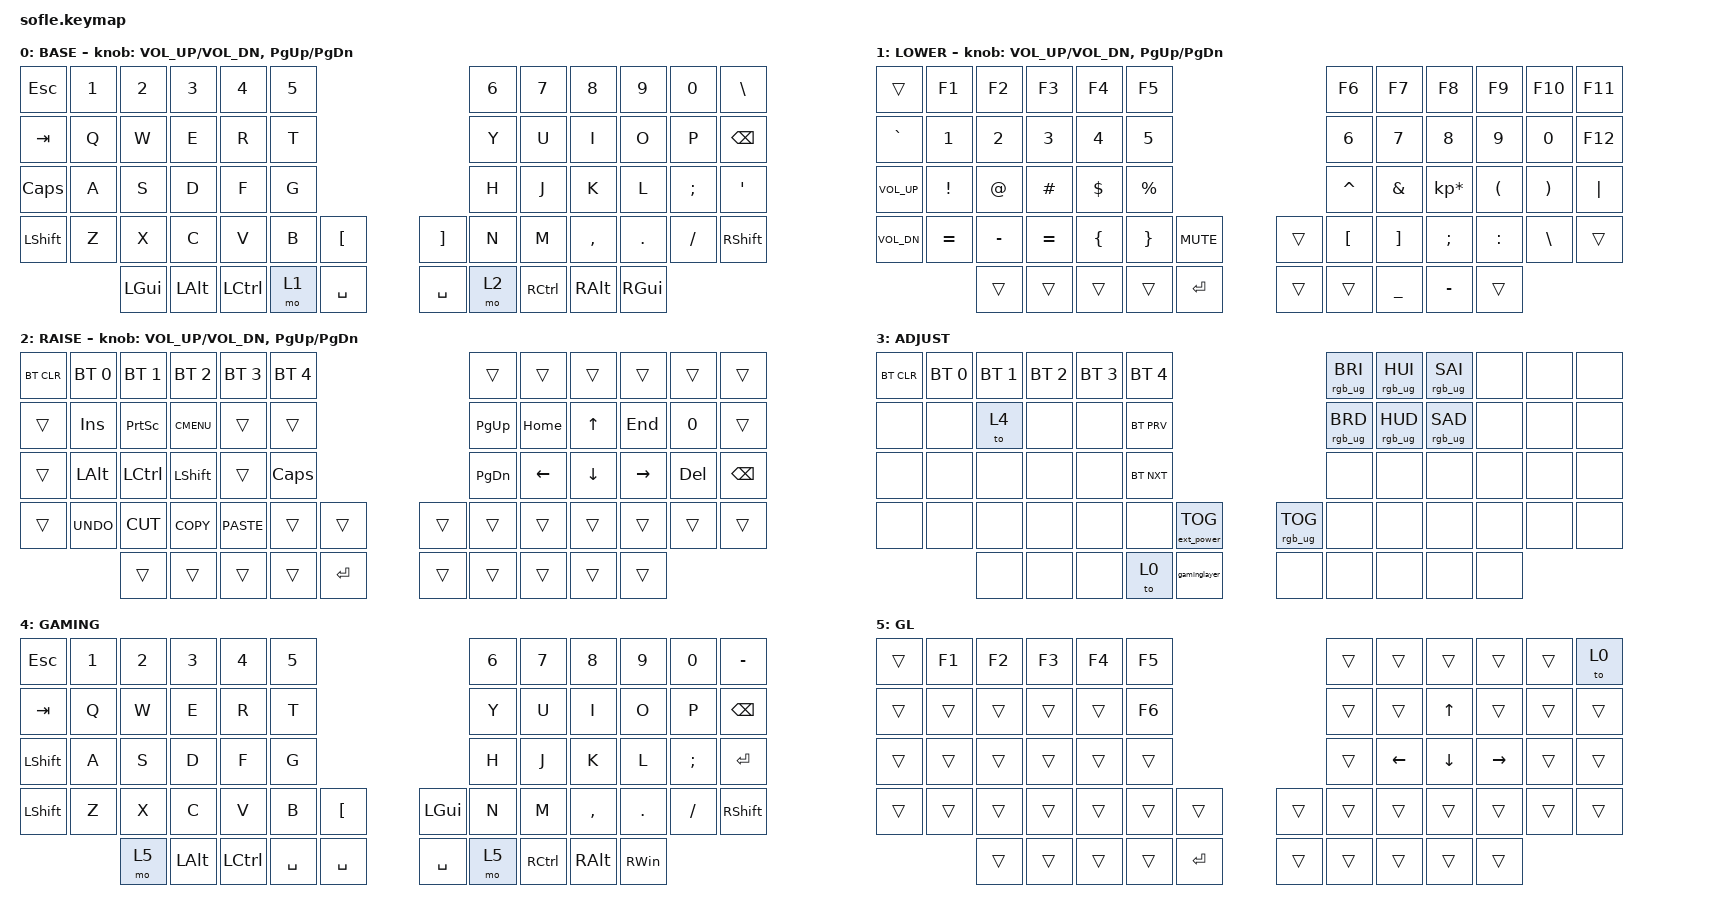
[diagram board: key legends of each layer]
/*
 * Copyright (c) 2020 The ZMK Contributors
 *
 * SPDX-License-Identifier: MIT
 */
/*
 * Temporarily here because nice nano v2 spi is not defined on ZMK Yet
 * Source: https://github.com/zmkfirmware/zmk/blob/main/app/boards/shields/reviung41/boards/nice_nano.overlay
 * GitHub Issue: https://github.com/zmkfirmware/zmk/issues/885
 */

#include <dt-bindings/led/led.h>
#include <behaviors.dtsi>
#include <dt-bindings/zmk/bt.h>
#include <dt-bindings/zmk/ext_power.h>
#include <dt-bindings/zmk/keys.h>
#include <dt-bindings/zmk/rgb.h>

&pinctrl {
    spi3_default: spi3_default {
        group1 { psels = <NRF_PSEL(SPIM_MOSI, 0, 8)>; };
    };

    spi3_sleep: spi3_sleep {
        group1 {
            psels = <NRF_PSEL(SPIM_MOSI, 0, 8)>;
            low-power-enable;
        };
    };
};

&spi3 {
    compatible = "nordic,nrf-spim";
    status = "okay";
    pinctrl-0 = <&spi3_default>;
    pinctrl-1 = <&spi3_sleep>;
    pinctrl-names = "default", "sleep";

    led_strip: ws2812@0 {
        compatible = "worldsemi,ws2812-spi";
        label = "WS2812";

        /* SPI */

        reg = <0>; /* ignored, but necessary for SPI bindings */
        spi-max-frequency = <4000000>;

        /* WS2812 */

        chain-length = <30>;
        spi-one-frame = <0x70>;
        spi-zero-frame = <0x40>;
        color-mapping = <LED_COLOR_ID_GREEN LED_COLOR_ID_RED LED_COLOR_ID_BLUE>;
    };
};

/ {
    chosen { zmk,underglow = &led_strip; };
};

/* END temporary RGB support section */

/ {
    behaviors {
        gaminglayer: gaminglayer {
            compatible = "zmk,behavior-tap-dance";
            label = "GAMINGLAYER";
            #binding-cells = <0>;
            bindings = <&none>, <&none>, <&to 4>;
        };
    };

    keymap {
        compatible = "zmk,keymap";

        default_layer {
            // ------------------------------------------------------------------------------------------------------------------
            // |  `    |  1  |  2  |  3   |  4   |  5   |                         |  6   |  7    |  8    |  9   |   0   |       |
            // |  ESC  |  Q  |  W  |  E   |  R   |  T   |                         |  Y   |  U    |  I    |  O   |   P   | BKSPC |
            // |  TAB  |  A  |  S  |  D   |  F   |  G   |                         |  H   |  J    |  K    |  L   |   ;   |   '   |
            // | SHIFT |  Z  |  X  |  C   |  V   |  B   |  MUTE  |        | ExtPw |  N   |  M    |  ,    |  .   |   /   | SHIFT |
            //               | GUI | ALT  | CTRL | LOWER|  ENTER |        | SPACE | RAISE| CTRL  | ALT   | GUI  |

            bindings = <
&kp ESCAPE      &kp N1  &kp N2    &kp N3    &kp N4     &kp N5                                         &kp N6  &kp N7     &kp N8     &kp N9    &kp N0    &kp BACKSLASH
&kp TAB         &kp Q   &kp W     &kp E     &kp R      &kp T                                          &kp Y   &kp U      &kp I      &kp O     &kp P     &kp BSPC
&kp CAPS        &kp A   &kp S     &kp D     &kp F      &kp G                                          &kp H   &kp J      &kp K      &kp L     &kp SEMI  &kp SQT
&kp LEFT_SHIFT  &kp Z   &kp X     &kp C     &kp V      &kp B   &kp LEFT_BRACKET    &kp RIGHT_BRACKET  &kp N   &kp M      &kp COMMA  &kp DOT   &kp FSLH  &kp RSHFT
                        &kp LGUI  &kp LALT  &kp LCTRL  &mo 1   &kp SPACE           &kp SPACE          &mo 2   &kp RCTRL  &kp RALT   &kp RGUI
            >;

            sensor-bindings = <&inc_dec_kp C_VOL_UP C_VOL_DN &inc_dec_kp PG_UP PG_DN>;
            label = "BASE";
        };

        lower_layer {
            // TODO: Some binds are waiting for shifted keycode support.
            // ------------------------------------------------------------------------------------------------------------
            // |       |  F1 |  F2 |  F3  |  F4  |  F5  |                   |  F6  |  F7   |  F8   |  F9  |  F10  |  F11  |
            // | `     |   1 |   2 |   3  |   4  |   5  |                   |   6  |   7   |   8   |   9  |    0  |  F12  |
            // |       |  !  |  @  |  #   |  $   |  %   |                   |  ^   |  &    |  *    |  (   |   )   |   |   |
            // |       |  =  |  -  |  +   |  {   |  }   |        |  |       |  [   |  ]    |  ;    |  :   |   \   |       |
            //               |     |      |      |      |        |  |       |      |       |       |      |

            bindings = <
&trans        &kp F1     &kp F2     &kp F3     &kp F4    &kp F5                           &kp F6     &kp F7          &kp F8           &kp F9     &kp F10   &kp F11
&kp GRAVE     &kp N1     &kp N2     &kp N3     &kp N4    &kp N5                           &kp N6     &kp N7          &kp N8           &kp N9     &kp N0    &kp F12
&kp C_VOL_UP  &kp EXCL   &kp AT     &kp HASH   &kp DLLR  &kp PRCNT                        &kp CARET  &kp AMPS        &kp KP_MULTIPLY  &kp LPAR   &kp RPAR  &kp PIPE
&kp C_VOL_DN  &kp EQUAL  &kp MINUS  &kp EQUAL  &kp LBRC  &kp RBRC   &kp C_MUTE    &trans  &kp LBKT   &kp RBKT        &kp SEMI         &kp COLON  &kp BSLH  &trans
                         &trans     &trans     &trans    &trans     &kp ENTER     &trans  &trans     &kp UNDERSCORE  &kp MINUS        &trans
            >;

            sensor-bindings = <&inc_dec_kp C_VOL_UP C_VOL_DN &inc_dec_kp PG_UP PG_DN>;
            label = "LOWER";
        };

        raise_layer {
            // ------------------------------------------------------------------------------------------------------------
            // |BTCLR| BT1  | BT2  |  BT3  |  BT4  |  BT5 |                 |      |      |       |      |       |       |
            // |     | INS  | PSCR | GUI   |       |      |                 | PGUP |      |   ^   |      |       |       |
            // |     | ALT  | CTRL | SHIFT |       | CAPS |                 | PGDN |   <- |   v   |  ->  |  DEL  | BKSPC |
            // |     | UNDO | CUT  | COPY  | PASTE |      |      |   | RGB  |      |      |       |      |       |       |
            //              |      |       |       |      |      |   |      |      |      |       |      |

            bindings = <
&bt BT_CLR  &bt BT_SEL 0  &bt BT_SEL 1  &bt BT_SEL 2  &bt BT_SEL 3  &bt BT_SEL 4                       &trans     &trans    &trans    &trans     &trans   &trans
&trans      &kp INS       &kp PSCRN     &kp K_CMENU   &trans        &trans                             &kp PG_UP  &kp HOME  &kp UP    &kp END    &kp N0   &trans
&trans      &kp LALT      &kp LCTRL     &kp LSHFT     &trans        &kp CLCK                           &kp PG_DN  &kp LEFT  &kp DOWN  &kp RIGHT  &kp DEL  &kp BSPC
&trans      &kp K_UNDO    &kp K_CUT     &kp K_COPY    &kp K_PASTE   &trans        &trans       &trans  &trans     &trans    &trans    &trans     &trans   &trans
                          &trans        &trans        &trans        &trans        &kp ENTER    &trans  &trans     &trans    &trans    &trans
            >;

            sensor-bindings = <&inc_dec_kp C_VOL_UP C_VOL_DN &inc_dec_kp PG_UP PG_DN>;
            label = "RAISE";
        };

        Adjust_Layer {
            bindings = <
&bt BT_CLR  &bt BT_SEL 0  &bt BT_SEL 1  &bt BT_SEL 2  &bt BT_SEL 3  &bt BT_SEL 4                                        &rgb_ug RGB_BRI  &rgb_ug RGB_HUI  &rgb_ug RGB_SAI  &none  &none  &none
&none       &none         &to 4         &none         &none         &bt BT_PRV                                          &rgb_ug RGB_BRD  &rgb_ug RGB_HUD  &rgb_ug RGB_SAD  &none  &none  &none
&none       &none         &none         &none         &none         &bt BT_NXT                                          &none            &none            &none            &none  &none  &none
&none       &none         &none         &none         &none         &none         &ext_power EP_TOG    &rgb_ug RGB_TOG  &none            &none            &none            &none  &none  &none
                          &none         &none         &none         &to 0         &gaminglayer         &none            &none            &none            &none            &none
            >;

            label = "ADJUST";
        };

        Gaming_Layer {
            bindings = <
&kp ESC         &kp N1  &kp N2  &kp N3        &kp N4     &kp N5                                    &kp N6  &kp N7     &kp N8     &kp N9         &kp N0    &kp MINUS
&kp TAB         &kp Q   &kp W   &kp E         &kp R      &kp T                                     &kp Y   &kp U      &kp I      &kp O          &kp P     &kp BACKSPACE
&kp LEFT_SHIFT  &kp A   &kp S   &kp D         &kp F      &kp G                                     &kp H   &kp J      &kp K      &kp L          &kp SEMI  &kp ENTER
&kp LSHFT       &kp Z   &kp X   &kp C         &kp V      &kp B      &kp LEFT_BRACKET    &kp LGUI   &kp N   &kp M      &kp COMMA  &kp DOT        &kp FSLH  &kp RSHFT
                        &mo 5   &kp LEFT_ALT  &kp LCTRL  &kp SPACE  &kp SPACE           &kp SPACE  &mo 5   &kp RCTRL  &kp RALT   &kp RIGHT_WIN
            >;

            label = "GAMING";
        };

        GAMING_LOWER {
            bindings = <
&trans  &kp F1  &kp F2  &kp F3  &kp F4  &kp F5                       &trans  &trans    &trans        &trans     &trans  &to 0
&trans  &trans  &trans  &trans  &trans  &kp F6                       &trans  &trans    &kp UP_ARROW  &trans     &trans  &trans
&trans  &trans  &trans  &trans  &trans  &trans                       &trans  &kp LEFT  &kp DOWN      &kp RIGHT  &trans  &trans
&trans  &trans  &trans  &trans  &trans  &trans  &trans       &trans  &trans  &trans    &trans        &trans     &trans  &trans
                &trans  &trans  &trans  &trans  &kp ENTER    &trans  &trans  &trans    &trans        &trans
            >;

            label = "GL";
        };
    };

    conditional_layers {
        compatible = "zmk,conditional-layers";

        Adjust {
            if-layers = <1 2>;
            then-layer = <3>;
        };
    };
};
